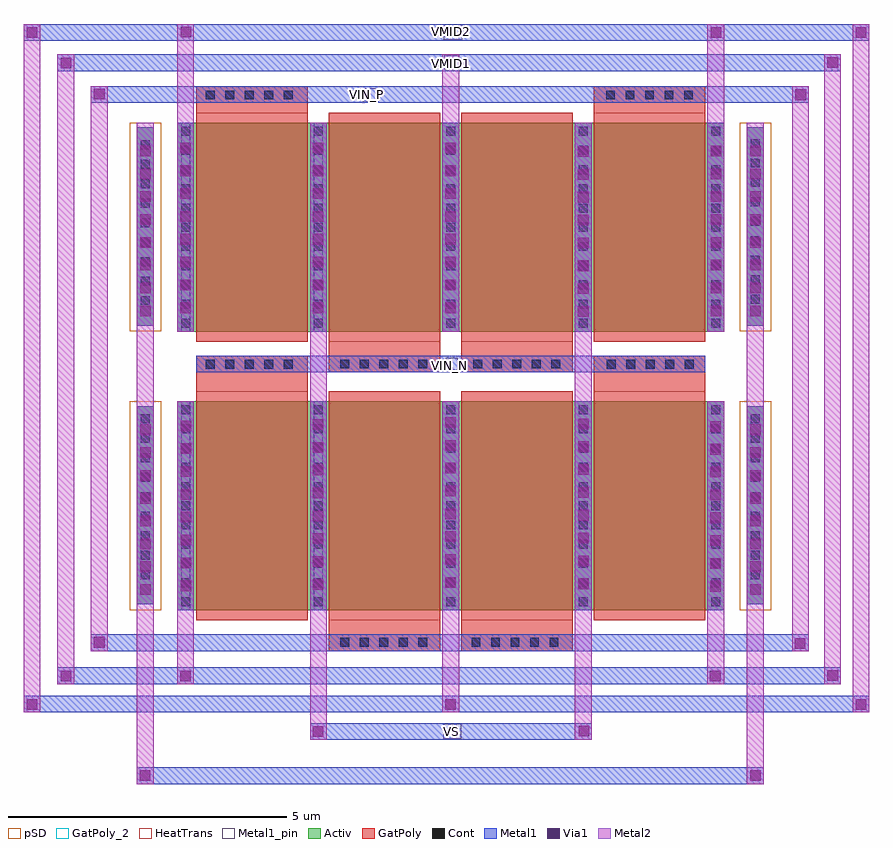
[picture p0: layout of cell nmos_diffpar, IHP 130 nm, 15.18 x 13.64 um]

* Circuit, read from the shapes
.subckt nmos_diffpar VIN_N VIN_P VMID1 VMID2 VS
XM1 VS VIN_N VMID1 VSUBS sg13_lv_nmos w=3.75u l=2u m=4
XM2 VS VIN_P VMID2 VSUBS sg13_lv_nmos w=3.75u l=2u m=4
.ends

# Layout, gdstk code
from math import pi, radians
import gdstk
lib = gdstk.Library(unit=1e-6, precision=1e-09)
def R(c, l, rs):  # rectangles x0, y0, x1, y1
    for r in rs: c.add(gdstk.rectangle(r[:2], r[2:], *l))
def A(c, l, x, y, w, h, nx, ny, dx, dy):  # array of equal rectangles
    R(c, l, [(x+i*dx, y+j*dy, x+i*dx+w, y+j*dy+h) for i in range(nx) for j in range(ny)])
Activ = (1, 0)
GatPoly = (5, 0)
GatPoly_2 = (5, 2)
Cont = (6, 0)
Metal1 = (8, 0)
Metal1_pin = (8, 2)
Metal2 = (10, 0)
pSD = (14, 0)
Via1 = (19, 0)
HeatTrans = (51, 0)

via = lib.new_cell('Via')
A(via, Cont, 0, 0, 0.16, 0.16, 1, 5, 0, 0.35)

nmos_2 = lib.new_cell('nmos$2')
A(nmos_2, Activ, 0, 0, 0.3, 0.3, 5, 1, 2.38, 0)
R(nmos_2, Activ, [(0,0,9.82,3.75)])
A(nmos_2, GatPoly, 0.34, -0.18, 2, 4.11, 4, 1, 2.38, 0)
R(nmos_2, GatPoly_2, [(0.34,-0.18,2.34,3.93), (0.34,-0.18,2.34,3.93)])
A(nmos_2, Cont, 0.07, 0.07, 0.16, 0.16, 5, 11, 2.38, 0.345)
A(nmos_2, Metal1, 0.07, 0, 0.16, 3.75, 5, 1, 2.38, 0)
R(nmos_2, Metal1_pin, [(0.07,0,0.23,3.75), (0.07,0,0.23,3.75), (2.45,0,2.61,3.75), (2.45,0,2.61,3.75)])
A(nmos_2, HeatTrans, 0.34, -0.18, 2, 4.11, 4, 1, 2.38, 0)
nmos_2.add(gdstk.Label('nmos', (1.34,1.875), layer=51, texttype=0))
nmos_2.add(gdstk.Label('nmos', (3.72,1.875), layer=51, texttype=0))
nmos_2.add(gdstk.Label('nmos', (6.1,1.875), layer=51, texttype=0))
nmos_2.add(gdstk.Label('nmos', (8.48,1.875), layer=51, texttype=0))

via_3 = lib.new_cell('Via$3')
A(via_3, Cont, 0, 0, 0.16, 0.16, 9, 1, 0.35, 0)

nmos_diffpar = lib.new_cell('nmos_diffpar')
R(nmos_diffpar, Activ, [(-1.2,-4.95,-0.9,-1.39), (9.755,-4.95,10.055,-1.39), (-1.2,0.055,-0.9,3.615), (9.755,0.055,10.055,3.615)])
R(nmos_diffpar, GatPoly, [(2.245,-5.79,4.245,-5.235), (4.625,-5.79,6.625,-5.235), (-0.135,-1.125,1.865,-0.485), (7.005,-1.125,9.005,-0.485), (2.245,-0.785,4.245,-0.235), (4.625,-0.785,6.625,-0.235), (-0.135,3.875,1.865,4.355), (7.005,3.875,9.005,4.355)])
A(nmos_diffpar, Metal1, 4.285, -5.055, 0.3, 3.75, 3, 2, 2.38, 5)
R(nmos_diffpar, Metal1, [(-1.2,-8.175,10.055,-7.875), (1.91,-7.38,6.965,-7.08), (-3.23,-6.89,11.95,-6.59), (-2.625,-6.38,11.44,-6.08), (-2.025,-5.79,10.865,-5.49), (-0.475,-5.055,-0.175,-1.305), (1.91,-5.055,2.21,-1.305), (-1.2,-4.95,-0.9,-1.39), (9.755,-4.95,10.055,-1.39), (-0.135,-0.785,9.005,-0.485), (-0.475,-0.055,-0.175,3.695), (1.91,-0.055,2.21,3.695), (-1.2,0.055,-0.9,3.615), (9.755,0.055,10.055,3.615), (-2.025,4.055,10.865,4.355), (-2.625,4.625,11.44,4.925), (-3.23,5.17,11.95,5.47)])
R(nmos_diffpar, Metal1_pin, [(4.3,-7.366,4.628,-7.097), (4.343,-0.749,4.562,-0.52), (2.851,4.086,3.144,4.319), (4.316,4.649,4.579,4.905), (4.313,5.185,4.646,5.458)])
R(nmos_diffpar, Metal2, [(-1.2,-8.175,-0.9,3.7), (9.755,-8.175,10.055,3.7), (1.91,-7.38,2.21,3.695), (6.665,-7.38,6.965,3.695), (-3.23,-6.89,-2.93,5.47), (4.285,-6.89,4.585,-1.305), (11.65,-6.89,11.95,5.47), (-2.625,-6.38,-2.325,4.925), (-0.475,-6.38,-0.175,-1.305), (9.045,-6.38,9.345,-1.305), (11.14,-6.38,11.44,4.925), (-2.025,-5.79,-1.725,4.355), (10.565,-5.79,10.865,4.355), (-0.475,-0.055,-0.175,5.47), (4.285,-0.055,4.585,4.925), (9.045,-0.055,9.345,5.47)])
R(nmos_diffpar, pSD, [(-1.33,-5.055,-0.76,-1.305), (9.625,-5.055,10.195,-1.305), (-1.33,-0.05,-0.76,3.7), (9.625,-0.05,10.195,3.7)])
A(nmos_diffpar, Via1, -1.14, -4.78, 0.19, 0.19, 1, 8, 0, 0.41)
A(nmos_diffpar, Via1, 9.815, -4.78, 0.19, 0.19, 1, 8, 0, 0.41)
A(nmos_diffpar, Via1, 9.095, -4.72, 0.19, 0.19, 1, 8, 0, 0.41)
A(nmos_diffpar, Via1, -0.415, -4.71, 0.19, 0.19, 1, 8, 0, 0.41)
A(nmos_diffpar, Via1, 1.96, -4.685, 0.19, 0.19, 1, 8, 0, 0.41)
A(nmos_diffpar, Via1, 6.725, -4.675, 0.19, 0.19, 1, 8, 0, 0.41)
A(nmos_diffpar, Via1, 4.34, -4.65, 0.19, 0.19, 1, 8, 0, 0.41)
A(nmos_diffpar, Via1, 6.72, 0.215, 0.19, 0.19, 1, 8, 0, 0.41)
A(nmos_diffpar, Via1, -1.14, 0.225, 0.19, 0.19, 1, 8, 0, 0.41)
A(nmos_diffpar, Via1, 9.105, 0.225, 0.19, 0.19, 1, 8, 0, 0.41)
A(nmos_diffpar, Via1, 9.815, 0.225, 0.19, 0.19, 1, 8, 0, 0.41)
A(nmos_diffpar, Via1, -0.42, 0.28, 0.19, 0.19, 3, 8, 2.38, 0.41)
R(nmos_diffpar, Via1, [(-1.15,-8.12,-0.96,-7.93), (9.81,-8.12,10,-7.93), (1.96,-7.33,2.15,-7.14), (6.735,-7.32,6.925,-7.13), (-3.175,-6.845,-2.985,-6.655), (11.705,-6.845,11.895,-6.655), (4.34,-6.84,4.53,-6.65), (-2.57,-6.33,-2.38,-6.14), (-0.42,-6.33,-0.23,-6.14), (9.09,-6.33,9.28,-6.14), (11.2,-6.325,11.39,-6.135), (10.615,-5.745,10.805,-5.555), (-1.97,-5.725,-1.78,-5.535), (10.625,4.105,10.815,4.295), (-1.97,4.115,-1.78,4.305), (-2.57,4.675,-2.38,4.865), (4.345,4.675,4.535,4.865), (11.2,4.685,11.39,4.875), (-3.18,5.225,-2.99,5.415), (9.1,5.225,9.29,5.415), (11.71,5.225,11.9,5.415), (-0.415,5.23,-0.225,5.42)])
nmos_diffpar.add(gdstk.Reference(via, (0.04,-0.56), rotation=3*pi/2))
nmos_diffpar.add(gdstk.Reference(via, (2.45,-0.555), rotation=3*pi/2))
nmos_diffpar.add(gdstk.Reference(via, (4.84,-0.555), rotation=3*pi/2))
r = gdstk.Reference(nmos_2, (-0.475,-5.055)); r.repetition = gdstk.Repetition(1, 2, v1=(0,0), v2=(0,5)); nmos_diffpar.add(r)
nmos_diffpar.add(gdstk.Reference(via, (7.235,-0.56), rotation=3*pi/2))
nmos_diffpar.add(gdstk.Reference(via, (2.45,-5.55), rotation=3*pi/2))
nmos_diffpar.add(gdstk.Reference(via, (4.81,-5.55), rotation=3*pi/2))
nmos_diffpar.add(gdstk.Reference(via, (0.04,4.275), rotation=3*pi/2))
nmos_diffpar.add(gdstk.Reference(via, (7.225,4.275), rotation=3*pi/2))
nmos_diffpar.add(gdstk.Reference(via_3, (9.825,3.405), rotation=3*pi/2))
nmos_diffpar.add(gdstk.Reference(via_3, (9.825,-1.535), rotation=3*pi/2))
nmos_diffpar.add(gdstk.Reference(via_3, (-1.13,-1.535), rotation=3*pi/2))
nmos_diffpar.add(gdstk.Reference(via_3, (-1.13,3.385), rotation=3*pi/2))
nmos_diffpar.add(gdstk.Label('VMID1', (4.441,4.752), layer=8, texttype=1))
nmos_diffpar.add(gdstk.Label('VMID2', (4.445,5.336), layer=8, texttype=1))
nmos_diffpar.add(gdstk.Label('VS', (4.447,-7.233), layer=8, texttype=1))
nmos_diffpar.add(gdstk.Label('VIN_N', (4.416,-0.662), layer=8, texttype=1))
nmos_diffpar.add(gdstk.Label('VIN_P', (2.921,4.211), layer=8, texttype=1))

lib.write_gds('nmos_diffpar.gds')
